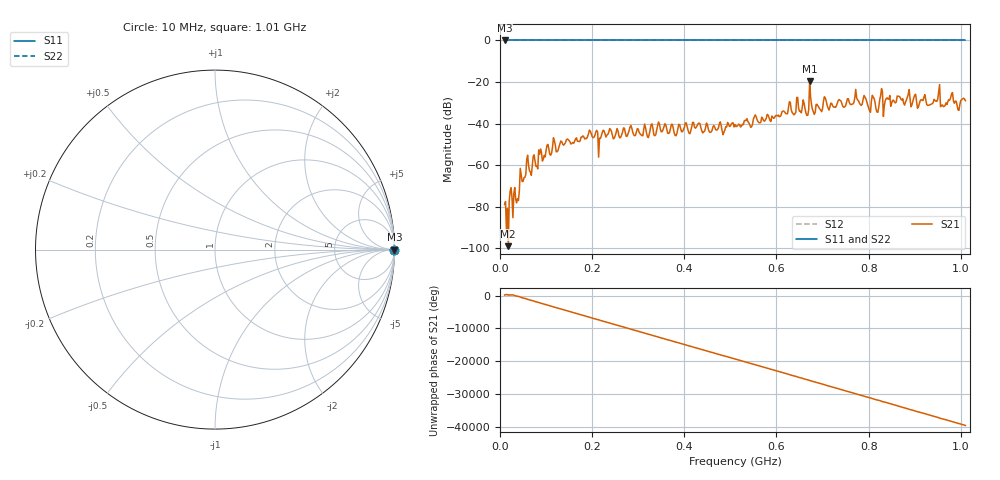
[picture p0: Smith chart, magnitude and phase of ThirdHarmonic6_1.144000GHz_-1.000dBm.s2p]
! 8/16/2025 11:17:02 AM
! C:\ANRITSUVNA\TEMP\TEMP.S2P
! CHANNEL.1
! TR.MEASUREMENT
! RAW.DATA
! RF.CORRECTION.OFF
! AVERAGING.OFF
! IF.BANDWIDTH: 5KHZ
! SWEEPTYPE:  FREQ.SWEEP(Linear)
! Reference Plane Port Info
! PORT:  PORT1  PORT2
! DISTANCE:  0  m  0  m
! TIME:  0  s  0  s
! PHASE.OFFSET:  0  deg.  0  deg.
! LOSS:  0  dB  0  dB
! REF.LOSS:  0  dB  0  dB
! REF.FREQ:  0  Hz  0  Hz
! Power Info
! POWER:  -20  dBm  -20  dBm
! EFF.POWER:  -20  dBm  -20  dBm
! SOURCE.ATTEN:  0  dB  0  dB
! TEST.ATTEN:  0  dB  0  dB
# GHZ S RI R 50.0
! FREQ.GHZ  S11RE  S11IM  S21RE  S21IM  S12RE  S12IM  S22RE  S22IM
!; PortSelection: Port_12
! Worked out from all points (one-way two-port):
!   501 points, 10 MHz to 1.01 GHz, reference 50 ohm
!   highest |S21| = -19.57 dB at 672 MHz (marker M1); lowest = -98.9 dB at 18 MHz (marker M2)
!   lowest |S11| = 0.0 dB at 10 MHz (marker M3)
!   |S11| at or under -10 dB: nowhere
!   |S22| runs from 0.0 to 0.0 dB; largest |S21 - S12| = 1.1
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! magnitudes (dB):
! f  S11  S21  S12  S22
! 10 MHz  0.0  -78.9  0.0  0.0
! 18 MHz  0.0  -98.9  0.0  0.0
! 38 MHz  0.0  -76.1  0.0  0.0
! 58 MHz  0.0  -57.2  0.0  0.0
! 66 MHz  0.0  -63.3  0.0  0.0
! 88 MHz  0.0  -52.2  0.0  0.0
! 178 MHz  0.0  -46.4  0.0  0.0
! 344 MHz  0.0  -39.2  0.0  0.0
! 382 MHz  0.0  -45.8  0.0  0.0
! 510 MHz  0.0  -40.4  0.0  0.0
! 638 MHz  0.0  -35.8  0.0  0.0
! 648 MHz  0.0  -32.6  0.0  0.0
! 666 MHz  0.0  -36.1  0.0  0.0
! 672 MHz  0.0  -19.6  0.0  0.0
! 678 MHz  0.0  -33.2  0.0  0.0
! 774 MHz  0.0  -27.5  0.0  0.0
! 800 MHz  0.0  -32.5  0.0  0.0
! 810 MHz  0.0  -27.2  0.0  0.0
! 818 MHz  0.0  -34.4  0.0  0.0
! 826 MHz  0.0  -26.6  0.0  0.0
! 844 MHz  0.0  -28.2  0.0  0.0
! 1.01 GHz  0.0  -29.0  0.0  0.0
